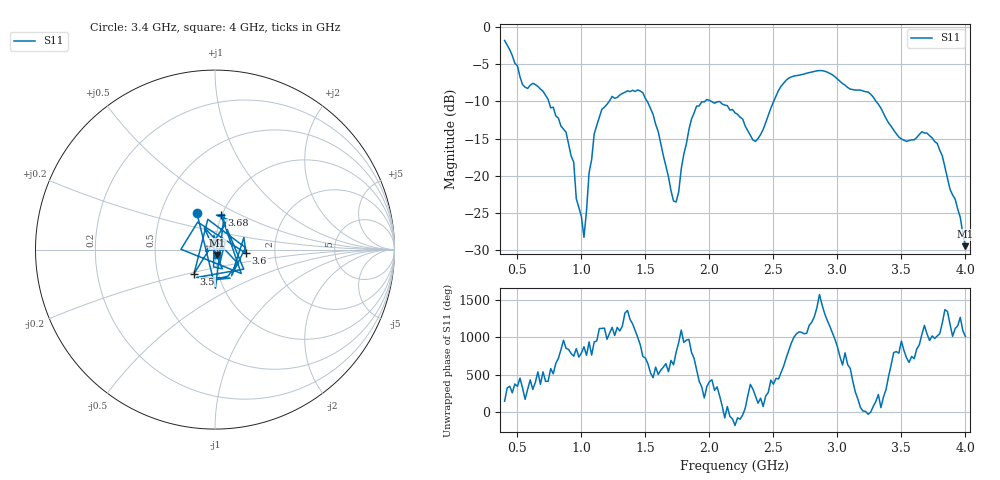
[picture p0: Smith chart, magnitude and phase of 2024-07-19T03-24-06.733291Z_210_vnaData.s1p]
!Created with skrf (http://scikit-rf.org).
# Hz S RI R 50.0
!freq ReS11 ImS11
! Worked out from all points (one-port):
!   181 points, 400 MHz to 4 GHz, reference 50 ohm
!   lowest |S11| = -29.5 dB at 4 GHz (marker M1), VSWR 1.07, Z = 51.1 - j3.21 ohm
!   |S11| at or under -10 dB: 744.9 MHz to 1.216 GHz (471.4 MHz wide, 48.1 % of centre); 2.016 GHz to 2.502 GHz (486.1 MHz wide, 21.5 % of centre); 3.302 GHz to end of sweep (the widest 3 of 4)
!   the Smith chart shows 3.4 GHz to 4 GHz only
!   S11 on the Smith chart (normalised r, x): 3.4 GHz: 0.76, +0.32; 3.5 GHz: 0.77, -0.21; 3.6 GHz: 1.42, -0.06; 3.68 GHz: 1.00, +0.39; 4 GHz: 1.02, -0.06
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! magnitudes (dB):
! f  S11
! 400 MHz  -1.8
! 540 MHz  -7.7
! 700 MHz  -8.6
! 860 MHz  -13.7
! 940 MHz  -18.2
! 960 MHz  -23.1
! 1.02 GHz  -28.3
! 1.06 GHz  -19.6
! 1.1 GHz  -14.4
! 1.16 GHz  -11.1
! 1.3 GHz  -9.1
! 1.48 GHz  -8.8
! 1.6 GHz  -14.0
! 1.72 GHz  -23.4
! 1.76 GHz  -22.2
! 1.84 GHz  -13.8
! 1.9 GHz  -10.6
! 2.2 GHz  -11.5
! 2.36 GHz  -15.4
! 2.66 GHz  -6.6
! 3.1 GHz  -8.3
! 3.4 GHz  -12.9
! 3.5 GHz  -15.0
! 3.56 GHz  -15.3
! 3.6 GHz  -15.2
! 3.68 GHz  -14.2
! 3.82 GHz  -17.3
! 4 GHz  -29.5
